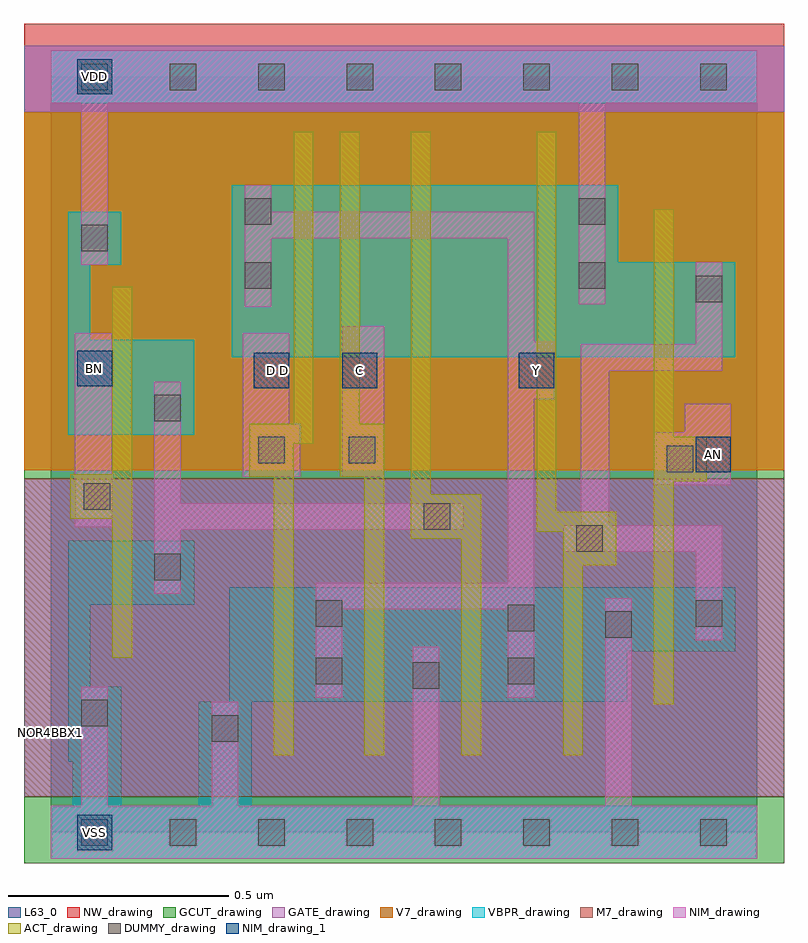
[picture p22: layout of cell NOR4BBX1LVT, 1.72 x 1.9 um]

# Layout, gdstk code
import gdstk
lib = gdstk.Library(unit=1e-6, precision=5e-10)
def R(c, l, rs):  # rectangles x0, y0, x1, y1
    for r in rs: c.add(gdstk.rectangle(r[:2], r[2:], *l))
def A(c, l, x, y, w, h, nx, ny, dx, dy):  # array of equal rectangles
    R(c, l, [(x+i*dx, y+j*dy, x+i*dx+w, y+j*dy+h) for i in range(nx) for j in range(ny)])
def P(c, l, *ps):  # polygons
    for p in ps: c.add(gdstk.Polygon(p, *l))
VBPR_drawing = (1, 0)
NW_drawing = (2, 0)
ACT_drawing = (3, 0)
GATE_drawing = (4, 0)
GCUT_drawing = (5, 0)
DUMMY_drawing = (6, 0)
NIM_drawing = (7, 0)
NIM_drawing_1 = (7, 1)
M7_drawing = (26, 0)
V7_drawing = (27, 0)
L63_0 = (63, 0)

nor4bbx1lvt = lib.new_cell('NOR4BBX1LVT')
R(nor4bbx1lvt, VBPR_drawing, [(0,-0.06,1.6,0.06), (0,1.65,1.6,1.77)])
P(nor4bbx1lvt, VBPR_drawing, [(0.04,1.405),(0.16,1.405),(0.16,1.285),(0.09,1.285),(0.09,1.115),(0.325,1.115),(0.325,0.9),(0.04,0.9)],
  [(0.41,1.465),(1.285,1.465),(1.285,1.29),(1.55,1.29),(1.55,1.075),(0.41,1.075)],
  [(1.55,0.555),(0.405,0.555),(0.405,0.295),(0.335,0.295),(0.335,0.06),(0.455,0.06),(0.455,0.295),(1.305,0.295),(1.305,0.41),(1.55,0.41)],
  [(0.325,0.66),(0.04,0.66),(0.04,0.16),(0.05,0.16),(0.05,0.06),(0.16,0.06),(0.16,0.33),(0.09,0.33),(0.09,0.515),(0.325,0.515)])
R(nor4bbx1lvt, NW_drawing, [(-0.06,0.82,1.66,1.83)])
P(nor4bbx1lvt, ACT_drawing, [(0.55,1.585),(0.595,1.585),(0.595,0.88),(0.55,0.88),(0.55,0.175),(0.505,0.175),(0.505,0.805),(0.45,0.805),(0.45,0.925),(0.55,0.925)],
  [(0.655,1.585),(0.7,1.585),(0.7,0.925),(0.755,0.925),(0.755,0.175),(0.71,0.175),(0.71,0.805),(0.655,0.805)],
  [(0.815,1.585),(0.86,1.585),(0.86,0.765),(0.975,0.765),(0.975,0.175),(0.93,0.175),(0.93,0.665),(0.815,0.665)],
  [(1.1,1.585),(1.145,1.585),(1.145,0.725),(1.28,0.725),(1.28,0.605),(1.205,0.605),(1.205,0.175),(1.16,0.175),(1.16,0.68),(1.1,0.68)],
  [(0.14,1.235),(0.185,1.235),(0.185,0.395),(0.14,0.395),(0.14,0.71),(0.045,0.71),(0.045,0.81),(0.14,0.81)],
  [(1.365,1.41),(1.41,1.41),(1.41,0.895),(1.485,0.895),(1.485,0.795),(1.41,0.795),(1.41,0.29),(1.365,0.29)])
R(nor4bbx1lvt, GATE_drawing, [(-0.06,0.08,1.66,0.8), (-0.06,1.63,1.66,1.78)])
R(nor4bbx1lvt, GCUT_drawing, [(-0.06,-0.07,1.66,0.08), (-0.06,0.8,1.66,1.63)])
A(nor4bbx1lvt, DUMMY_drawing, 0.07, -0.03, 0.06, 0.06, 8, 2, 0.2, 1.71)
R(nor4bbx1lvt, DUMMY_drawing, [(0.365,0.205,0.425,0.265), (0.07,0.24,0.13,0.3), (0.82,0.325,0.88,0.385), (0.6,0.335,0.66,0.395), (1.035,0.335,1.095,0.395), (1.255,0.44,1.315,0.5), (1.035,0.455,1.095,0.515), (0.6,0.465,0.66,0.525), (1.46,0.465,1.52,0.525), (0.235,0.57,0.295,0.63), (1.19,0.635,1.25,0.695), (0.845,0.685,0.905,0.745), (0.075,0.73,0.135,0.79), (1.395,0.815,1.455,0.875), (0.47,0.835,0.53,0.895), (0.675,0.835,0.735,0.895), (0.235,0.93,0.295,0.99), (1.46,1.2,1.52,1.26), (0.44,1.23,0.5,1.29), (1.195,1.23,1.255,1.29), (0.07,1.315,0.13,1.375), (0.44,1.375,0.5,1.435), (1.195,1.375,1.255,1.435)])
R(nor4bbx1lvt, NIM_drawing, [(0.07,0.06,0.13,0.33), (0.365,0.06,0.425,0.295), (0.82,0.06,0.88,0.42), (1.255,0.06,1.315,0.53), (0.055,0.69,0.14,1.13), (0.66,0.805,0.755,1.145), (0.44,1.19,0.5,1.465), (1.195,1.195,1.255,1.65), (0.07,1.285,0.13,1.65)])
P(nor4bbx1lvt, NIM_drawing, [(1.52,0.695),(1.16,0.695),(1.16,0.635),(1.46,0.635),(1.46,0.435),(1.52,0.435)],
  [(0.44,1.465),(0.5,1.465),(0.5,1.405),(1.095,1.405),(1.095,1.11),(1.14,1.11),(1.14,0.98),(1.095,0.98),(1.095,0.305),(1.035,0.305),(1.035,0.505),(0.66,0.505),(0.66,0.305),(0.6,0.305),(0.6,0.565),(1.035,0.565),(1.035,1.345),(0.44,1.345)],
  [(1.2,1.105),(1.46,1.105),(1.46,1.29),(1.52,1.29),(1.52,1.045),(1.265,1.045),(1.265,0.635),(1.2,0.635)],
  [(0.435,1.13),(0.54,1.13),(0.54,0.925),(0.565,0.925),(0.565,0.805),(0.435,0.805)],
  [(0.235,1.02),(0.295,1.02),(0.295,0.745),(0.935,0.745),(0.935,0.685),(0.295,0.685),(0.295,0.54),(0.235,0.54)],
  [(1.54,0.97),(1.435,0.97),(1.435,0.905),(1.365,0.905),(1.365,0.785),(1.54,0.785)])
R(nor4bbx1lvt, NIM_drawing_1, [(0.06,-0.04,0.14,0.04), (1.46,0.815,1.54,0.895), (0.46,1.005,0.54,1.085), (0.66,1.005,0.74,1.085), (1.06,1.005,1.14,1.085), (0.06,1.01,0.14,1.09), (0.06,1.67,0.14,1.75)])
R(nor4bbx1lvt, M7_drawing, [(-0.06,0.08,1.66,0.8)])
R(nor4bbx1lvt, V7_drawing, [(-0.06,0.82,1.66,1.63)])
R(nor4bbx1lvt, L63_0, [(0,0,1.6,1.71)])
nor4bbx1lvt.add(gdstk.FlexPath([(0,0),(1.6,0)], 0.12, ends="flush", simple_path=True, layer=7, datatype=0))  # NIM_drawing
nor4bbx1lvt.add(gdstk.FlexPath([(0,1.71),(1.6,1.71)], 0.12, ends="flush", simple_path=True, layer=7, datatype=0))  # NIM_drawing
nor4bbx1lvt.add(gdstk.Label('VSS', (0.1,0), layer=7, texttype=1))
nor4bbx1lvt.add(gdstk.Label('Y', (1.1,1.045), layer=7, texttype=1))
nor4bbx1lvt.add(gdstk.Label('D', (0.53,1.045), layer=7, texttype=1))
nor4bbx1lvt.add(gdstk.Label('C', (0.7,1.045), layer=7, texttype=1))
nor4bbx1lvt.add(gdstk.Label('AN', (1.5,0.855), layer=7, texttype=1))
nor4bbx1lvt.add(gdstk.Label('BN', (0.1,1.05), layer=7, texttype=1))
nor4bbx1lvt.add(gdstk.Label('VDD', (0.1,1.71), layer=7, texttype=1))
nor4bbx1lvt.add(gdstk.Label('VSS', (0.1,0), layer=7, texttype=1))
nor4bbx1lvt.add(gdstk.Label('VDD', (0.1,1.71), layer=7, texttype=1))
nor4bbx1lvt.add(gdstk.Label('BN', (0.1,1.05), layer=7, texttype=1))
nor4bbx1lvt.add(gdstk.Label('AN', (1.5,0.855), layer=7, texttype=1))
nor4bbx1lvt.add(gdstk.Label('C', (0.7,1.045), layer=7, texttype=1))
nor4bbx1lvt.add(gdstk.Label('D', (0.5,1.045), layer=7, texttype=1))
nor4bbx1lvt.add(gdstk.Label('Y', (1.1,1.045), layer=7, texttype=1))
nor4bbx1lvt.add(gdstk.Label('NOR4BBX1', (0,0.225), layer=63, texttype=0))

lib.write_gds('NOR4BBX1LVT.gds')
